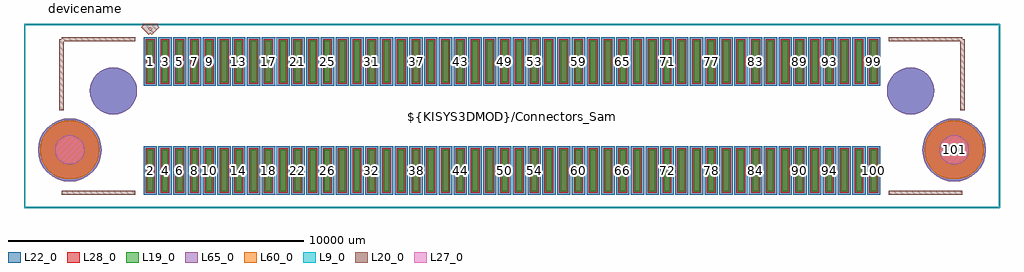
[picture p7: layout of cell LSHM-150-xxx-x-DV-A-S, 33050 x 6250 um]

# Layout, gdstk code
import gdstk
lib = gdstk.Library(unit=1e-6, precision=1e-09)
def R(c, l, rs):  # rectangles x0, y0, x1, y1
    for r in rs: c.add(gdstk.rectangle(r[:2], r[2:], *l))
def A(c, l, x, y, w, h, nx, ny, dx, dy):  # array of equal rectangles
    R(c, l, [(x+i*dx, y+j*dy, x+i*dx+w, y+j*dy+h) for i in range(nx) for j in range(ny)])
def P(c, l, *ps):  # polygons
    for p in ps: c.add(gdstk.Polygon(p, *l))
L9_0 = (9, 0)
L19_0 = (19, 0)
L20_0 = (20, 0)
L22_0 = (22, 0)
L27_0 = (27, 0)
L28_0 = (28, 0)
L60_0 = (60, 0)
L65_0 = (65, 0)

lshm_150_xxx_x_dv_a_s = lib.new_cell('LSHM-150-xxx-x-DV-A-S')
A(lshm_150_xxx_x_dv_a_s, L19_0, -12350, -2550, 200, 1400, 50, 2, 500, 3700)
A(lshm_150_xxx_x_dv_a_s, L22_0, -12475, -2675, 450, 1650, 50, 2, 500, 3700)
P(lshm_150_xxx_x_dv_a_s, L22_0, [(-12700,850),(-12715.372,1006.072),(-12760.896,1156.147),(-12834.824,1294.456),(-12934.315,1415.685),(-13055.544,1515.176),(-13193.853,1589.104),(-13343.928,1634.628),(-13500,1650),(-13656.072,1634.628),(-13806.147,1589.104),(-13944.456,1515.176),(-14065.685,1415.685),(-14165.176,1294.456),(-14239.104,1156.147),(-14284.628,1006.072),(-14300,850),(-14284.628,693.928),(-14239.104,543.853),(-14165.176,405.544),(-14065.685,284.315),(-13944.456,184.824),(-13806.147,110.896),(-13656.072,65.372),(-13500,50),(-13343.928,65.372),(-13193.853,110.896),(-13055.544,184.824),(-12934.315,284.315),(-12834.824,405.544),(-12760.896,543.853),(-12715.372,693.928)],
  [(-13900,-1150),(-13920.656,-940.278),(-13981.83,-738.615),(-14081.17,-552.762),(-14214.86,-389.86),(-14377.762,-256.17),(-14563.615,-156.83),(-14765.278,-95.656),(-14975,-75),(-15184.722,-95.656),(-15386.385,-156.83),(-15572.238,-256.17),(-15735.14,-389.86),(-15868.83,-552.762),(-15968.17,-738.615),(-16029.344,-940.278),(-16050,-1150),(-16029.344,-1359.722),(-15968.17,-1561.385),(-15868.83,-1747.238),(-15735.14,-1910.14),(-15572.238,-2043.83),(-15386.385,-2143.17),(-15184.722,-2204.344),(-14975,-2225),(-14765.278,-2204.344),(-14563.615,-2143.17),(-14377.762,-2043.83),(-14214.86,-1910.14),(-14081.17,-1747.238),(-13981.83,-1561.385),(-13920.656,-1359.722)],
  [(14300,850),(14284.628,1006.072),(14239.104,1156.147),(14165.176,1294.456),(14065.685,1415.685),(13944.456,1515.176),(13806.147,1589.104),(13656.072,1634.628),(13500,1650),(13343.928,1634.628),(13193.853,1589.104),(13055.544,1515.176),(12934.315,1415.685),(12834.824,1294.456),(12760.896,1156.147),(12715.372,1006.072),(12700,850),(12715.372,693.928),(12760.896,543.853),(12834.824,405.544),(12934.315,284.315),(13055.544,184.824),(13193.853,110.896),(13343.928,65.372),(13500,50),(13656.072,65.372),(13806.147,110.896),(13944.456,184.824),(14065.685,284.315),(14165.176,405.544),(14239.104,543.853),(14284.628,693.928)],
  [(16050,-1150),(16029.344,-940.278),(15968.17,-738.615),(15868.83,-552.762),(15735.14,-389.86),(15572.238,-256.17),(15386.385,-156.83),(15184.722,-95.656),(14975,-75),(14765.278,-95.656),(14563.615,-156.83),(14377.762,-256.17),(14214.86,-389.86),(14081.17,-552.762),(13981.83,-738.615),(13920.656,-940.278),(13900,-1150),(13920.656,-1359.722),(13981.83,-1561.385),(14081.17,-1747.238),(14214.86,-1910.14),(14377.762,-2043.83),(14563.615,-2143.17),(14765.278,-2204.344),(14975,-2225),(15184.722,-2204.344),(15386.385,-2143.17),(15572.238,-2043.83),(15735.14,-1910.14),(15868.83,-1747.238),(15968.17,-1561.385),(16029.344,-1359.722)])
P(lshm_150_xxx_x_dv_a_s, L27_0, [(-14475.001,-1150),(-14484.608,-1052.455),(-14513.061,-958.659),(-14559.266,-872.215),(-14621.447,-796.447),(-14697.215,-734.266),(-14783.659,-688.061),(-14877.455,-659.608),(-14975,-650.001),(-15072.545,-659.608),(-15166.341,-688.061),(-15252.785,-734.266),(-15328.553,-796.447),(-15390.734,-872.215),(-15436.939,-958.659),(-15465.392,-1052.455),(-15474.999,-1150),(-15465.392,-1247.545),(-15436.939,-1341.341),(-15390.734,-1427.785),(-15328.553,-1503.553),(-15252.785,-1565.734),(-15166.341,-1611.939),(-15072.545,-1640.392),(-14975,-1649.999),(-14877.455,-1640.392),(-14783.659,-1611.939),(-14697.215,-1565.734),(-14621.447,-1503.553),(-14559.266,-1427.785),(-14513.061,-1341.341),(-14484.608,-1247.545)],
  [(15474.999,-1150),(15465.392,-1052.455),(15436.939,-958.659),(15390.734,-872.215),(15328.553,-796.447),(15252.785,-734.266),(15166.341,-688.061),(15072.545,-659.608),(14975,-650.001),(14877.455,-659.608),(14783.659,-688.061),(14697.215,-734.266),(14621.447,-796.447),(14559.266,-872.215),(14513.061,-958.659),(14484.608,-1052.455),(14475.001,-1150),(14484.608,-1247.545),(14513.061,-1341.341),(14559.266,-1427.785),(14621.447,-1503.553),(14697.215,-1565.734),(14783.659,-1611.939),(14877.455,-1640.392),(14975,-1649.999),(15072.545,-1640.392),(15166.341,-1611.939),(15252.785,-1565.734),(15328.553,-1503.553),(15390.734,-1427.785),(15436.939,-1341.341),(15465.392,-1247.545)])
A(lshm_150_xxx_x_dv_a_s, L28_0, -12400, -2600, 300, 1500, 50, 2, 500, 3700)
P(lshm_150_xxx_x_dv_a_s, L28_0, [(-13975,-1150),(-13994.215,-954.91),(-14051.12,-767.317),(-14143.53,-594.43),(-14267.893,-442.893),(-14419.43,-318.53),(-14592.317,-226.12),(-14779.91,-169.215),(-14975,-150),(-15170.09,-169.215),(-15357.683,-226.12),(-15530.57,-318.53),(-15682.107,-442.893),(-15806.47,-594.43),(-15898.88,-767.317),(-15955.785,-954.91),(-15975,-1150),(-15955.785,-1345.09),(-15898.88,-1532.683),(-15806.47,-1705.57),(-15682.107,-1857.107),(-15530.57,-1981.47),(-15357.683,-2073.88),(-15170.09,-2130.785),(-14975,-2150),(-14779.91,-2130.785),(-14592.317,-2073.88),(-14419.43,-1981.47),(-14267.893,-1857.107),(-14143.53,-1705.57),(-14051.12,-1532.683),(-13994.215,-1345.09)],
  [(15975,-1150),(15955.785,-954.91),(15898.88,-767.317),(15806.47,-594.43),(15682.107,-442.893),(15530.57,-318.53),(15357.683,-226.12),(15170.09,-169.215),(14975,-150),(14779.91,-169.215),(14592.317,-226.12),(14419.43,-318.53),(14267.893,-442.893),(14143.53,-594.43),(14051.12,-767.317),(13994.215,-954.91),(13975,-1150),(13994.215,-1345.09),(14051.12,-1532.683),(14143.53,-1705.57),(14267.893,-1857.107),(14419.43,-1981.47),(14592.317,-2073.88),(14779.91,-2130.785),(14975,-2150),(15170.09,-2130.785),(15357.683,-2073.88),(15530.57,-1981.47),(15682.107,-1857.107),(15806.47,-1705.57),(15898.88,-1532.683),(15955.785,-1345.09)])
P(lshm_150_xxx_x_dv_a_s, L60_0, [(-13975,-1150),(-13994.215,-954.91),(-14051.12,-767.317),(-14143.53,-594.43),(-14267.893,-442.893),(-14419.43,-318.53),(-14592.317,-226.12),(-14779.91,-169.215),(-14975,-150),(-15170.09,-169.215),(-15357.683,-226.12),(-15530.57,-318.53),(-15682.107,-442.893),(-15806.47,-594.43),(-15898.88,-767.317),(-15955.785,-954.91),(-15975,-1150),(-15955.785,-1345.09),(-15898.88,-1532.683),(-15806.47,-1705.57),(-15682.107,-1857.107),(-15530.57,-1981.47),(-15357.683,-2073.88),(-15170.09,-2130.785),(-14975,-2150),(-14779.91,-2130.785),(-14592.317,-2073.88),(-14419.43,-1981.47),(-14267.893,-1857.107),(-14143.53,-1705.57),(-14051.12,-1532.683),(-13994.215,-1345.09)],
  [(15975,-1150),(15955.785,-954.91),(15898.88,-767.317),(15806.47,-594.43),(15682.107,-442.893),(15530.57,-318.53),(15357.683,-226.12),(15170.09,-169.215),(14975,-150),(14779.91,-169.215),(14592.317,-226.12),(14419.43,-318.53),(14267.893,-442.893),(14143.53,-594.43),(14051.12,-767.317),(13994.215,-954.91),(13975,-1150),(13994.215,-1345.09),(14051.12,-1532.683),(14143.53,-1705.57),(14267.893,-1857.107),(14419.43,-1981.47),(14592.317,-2073.88),(14779.91,-2130.785),(14975,-2150),(15170.09,-2130.785),(15357.683,-2073.88),(15530.57,-1981.47),(15682.107,-1857.107),(15806.47,-1705.57),(15898.88,-1532.683),(15955.785,-1345.09)])
P(lshm_150_xxx_x_dv_a_s, L65_0, [(-12700,850),(-12715.372,1006.072),(-12760.896,1156.147),(-12834.824,1294.456),(-12934.315,1415.685),(-13055.544,1515.176),(-13193.853,1589.104),(-13343.928,1634.628),(-13500,1650),(-13656.072,1634.628),(-13806.147,1589.104),(-13944.456,1515.176),(-14065.685,1415.685),(-14165.176,1294.456),(-14239.104,1156.147),(-14284.628,1006.072),(-14300,850),(-14284.628,693.928),(-14239.104,543.853),(-14165.176,405.544),(-14065.685,284.315),(-13944.456,184.824),(-13806.147,110.896),(-13656.072,65.372),(-13500,50),(-13343.928,65.372),(-13193.853,110.896),(-13055.544,184.824),(-12934.315,284.315),(-12834.824,405.544),(-12760.896,543.853),(-12715.372,693.928)],
  [(-13900,-1150),(-13920.656,-940.278),(-13981.83,-738.615),(-14081.17,-552.762),(-14214.86,-389.86),(-14377.762,-256.17),(-14563.615,-156.83),(-14765.278,-95.656),(-14975,-75),(-15184.722,-95.656),(-15386.385,-156.83),(-15572.238,-256.17),(-15735.14,-389.86),(-15868.83,-552.762),(-15968.17,-738.615),(-16029.344,-940.278),(-16050,-1150),(-16029.344,-1359.722),(-15968.17,-1561.385),(-15868.83,-1747.238),(-15735.14,-1910.14),(-15572.238,-2043.83),(-15386.385,-2143.17),(-15184.722,-2204.344),(-14975,-2225),(-14765.278,-2204.344),(-14563.615,-2143.17),(-14377.762,-2043.83),(-14214.86,-1910.14),(-14081.17,-1747.238),(-13981.83,-1561.385),(-13920.656,-1359.722)],
  [(14300,850),(14284.628,1006.072),(14239.104,1156.147),(14165.176,1294.456),(14065.685,1415.685),(13944.456,1515.176),(13806.147,1589.104),(13656.072,1634.628),(13500,1650),(13343.928,1634.628),(13193.853,1589.104),(13055.544,1515.176),(12934.315,1415.685),(12834.824,1294.456),(12760.896,1156.147),(12715.372,1006.072),(12700,850),(12715.372,693.928),(12760.896,543.853),(12834.824,405.544),(12934.315,284.315),(13055.544,184.824),(13193.853,110.896),(13343.928,65.372),(13500,50),(13656.072,65.372),(13806.147,110.896),(13944.456,184.824),(14065.685,284.315),(14165.176,405.544),(14239.104,543.853),(14284.628,693.928)],
  [(16050,-1150),(16029.344,-940.278),(15968.17,-738.615),(15868.83,-552.762),(15735.14,-389.86),(15572.238,-256.17),(15386.385,-156.83),(15184.722,-95.656),(14975,-75),(14765.278,-95.656),(14563.615,-156.83),(14377.762,-256.17),(14214.86,-389.86),(14081.17,-552.762),(13981.83,-738.615),(13920.656,-940.278),(13900,-1150),(13920.656,-1359.722),(13981.83,-1561.385),(14081.17,-1747.238),(14214.86,-1910.14),(14377.762,-2043.83),(14563.615,-2143.17),(14765.278,-2204.344),(14975,-2225),(15184.722,-2204.344),(15386.385,-2143.17),(15572.238,-2043.83),(15735.14,-1910.14),(15868.83,-1747.238),(15968.17,-1561.385),(16029.344,-1359.722)])
lshm_150_xxx_x_dv_a_s.add(gdstk.FlexPath([(15250,-2600),(12750,-2600)], 149.998, ends="flush", simple_path=True, layer=20, datatype=0))  # L20_0
lshm_150_xxx_x_dv_a_s.add(gdstk.FlexPath([(-15250,-2600),(-12750,-2600)], 149.998, ends="flush", simple_path=True, layer=20, datatype=0))  # L20_0
lshm_150_xxx_x_dv_a_s.add(gdstk.FlexPath([(15250,200),(15250,2600)], 149.998, ends="flush", simple_path=True, layer=20, datatype=0))  # L20_0
lshm_150_xxx_x_dv_a_s.add(gdstk.FlexPath([(15250,2600),(12750,2600)], 149.998, ends="flush", simple_path=True, layer=20, datatype=0))  # L20_0
lshm_150_xxx_x_dv_a_s.add(gdstk.FlexPath([(-15250,2600),(-12750,2600)], 149.998, ends="flush", simple_path=True, layer=20, datatype=0))  # L20_0
lshm_150_xxx_x_dv_a_s.add(gdstk.FlexPath([(-15250,200),(-15250,2600)], 149.998, ends="flush", simple_path=True, layer=20, datatype=0))  # L20_0
lshm_150_xxx_x_dv_a_s.add(gdstk.FlexPath([(16500,-3100),(16500,3100)], 50, ends="flush", simple_path=True, layer=9, datatype=0))  # L9_0
lshm_150_xxx_x_dv_a_s.add(gdstk.FlexPath([(-16500,-3100),(-16500,3100)], 50, ends="flush", simple_path=True, layer=9, datatype=0))  # L9_0
lshm_150_xxx_x_dv_a_s.add(gdstk.FlexPath([(-16500,3100),(16500,3100)], 50, ends="flush", simple_path=True, layer=9, datatype=0))  # L9_0
lshm_150_xxx_x_dv_a_s.add(gdstk.FlexPath([(-16500,-3100),(16500,-3100)], 50, ends="flush", simple_path=True, layer=9, datatype=0))  # L9_0
lshm_150_xxx_x_dv_a_s.add(gdstk.FlexPath([(-12250,2800),(-12000,3050)], 149.998, ends="flush", simple_path=True, layer=20, datatype=0))  # L20_0
lshm_150_xxx_x_dv_a_s.add(gdstk.FlexPath([(-12000,3050),(-12500,3050)], 149.998, ends="flush", simple_path=True, layer=20, datatype=0))  # L20_0
lshm_150_xxx_x_dv_a_s.add(gdstk.FlexPath([(-12500,3050),(-12250,2800)], 149.998, ends="flush", simple_path=True, layer=20, datatype=0))  # L20_0
lshm_150_xxx_x_dv_a_s.add(gdstk.Label('${KISYS3DMOD}/Connectors_Samtec.3dshapes/LSHM-150-xxx-x-DV-A-S.wrl', (0,0), layer=12, texttype=0))
lshm_150_xxx_x_dv_a_s.add(gdstk.Label('2', (-12250,-1850), layer=28, texttype=0))
lshm_150_xxx_x_dv_a_s.add(gdstk.Label('1', (-12250,1850), layer=28, texttype=0))
lshm_150_xxx_x_dv_a_s.add(gdstk.Label('3', (-11750,1850), layer=28, texttype=0))
lshm_150_xxx_x_dv_a_s.add(gdstk.Label('4', (-11750,-1850), layer=28, texttype=0))
lshm_150_xxx_x_dv_a_s.add(gdstk.Label('8', (-10750,-1850), layer=28, texttype=0))
lshm_150_xxx_x_dv_a_s.add(gdstk.Label('7', (-10750,1850), layer=28, texttype=0))
lshm_150_xxx_x_dv_a_s.add(gdstk.Label('5', (-11250,1850), layer=28, texttype=0))
lshm_150_xxx_x_dv_a_s.add(gdstk.Label('6', (-11250,-1850), layer=28, texttype=0))
lshm_150_xxx_x_dv_a_s.add(gdstk.Label('14', (-9250,-1850), layer=28, texttype=0))
lshm_150_xxx_x_dv_a_s.add(gdstk.Label('13', (-9250,1850), layer=28, texttype=0))
lshm_150_xxx_x_dv_a_s.add(gdstk.Label('15', (-8750,1850), layer=28, texttype=0))
lshm_150_xxx_x_dv_a_s.add(gdstk.Label('16', (-8750,-1850), layer=28, texttype=0))
lshm_150_xxx_x_dv_a_s.add(gdstk.Label('12', (-9750,-1850), layer=28, texttype=0))
lshm_150_xxx_x_dv_a_s.add(gdstk.Label('11', (-9750,1850), layer=28, texttype=0))
lshm_150_xxx_x_dv_a_s.add(gdstk.Label('9', (-10250,1850), layer=28, texttype=0))
lshm_150_xxx_x_dv_a_s.add(gdstk.Label('10', (-10250,-1850), layer=28, texttype=0))
lshm_150_xxx_x_dv_a_s.add(gdstk.Label('26', (-6250,-1850), layer=28, texttype=0))
lshm_150_xxx_x_dv_a_s.add(gdstk.Label('25', (-6250,1850), layer=28, texttype=0))
lshm_150_xxx_x_dv_a_s.add(gdstk.Label('27', (-5750,1850), layer=28, texttype=0))
lshm_150_xxx_x_dv_a_s.add(gdstk.Label('28', (-5750,-1850), layer=28, texttype=0))
lshm_150_xxx_x_dv_a_s.add(gdstk.Label('32', (-4750,-1850), layer=28, texttype=0))
lshm_150_xxx_x_dv_a_s.add(gdstk.Label('31', (-4750,1850), layer=28, texttype=0))
lshm_150_xxx_x_dv_a_s.add(gdstk.Label('29', (-5250,1850), layer=28, texttype=0))
lshm_150_xxx_x_dv_a_s.add(gdstk.Label('30', (-5250,-1850), layer=28, texttype=0))
lshm_150_xxx_x_dv_a_s.add(gdstk.Label('22', (-7250,-1850), layer=28, texttype=0))
lshm_150_xxx_x_dv_a_s.add(gdstk.Label('21', (-7250,1850), layer=28, texttype=0))
lshm_150_xxx_x_dv_a_s.add(gdstk.Label('23', (-6750,1850), layer=28, texttype=0))
lshm_150_xxx_x_dv_a_s.add(gdstk.Label('24', (-6750,-1850), layer=28, texttype=0))
lshm_150_xxx_x_dv_a_s.add(gdstk.Label('20', (-7750,-1850), layer=28, texttype=0))
lshm_150_xxx_x_dv_a_s.add(gdstk.Label('19', (-7750,1850), layer=28, texttype=0))
lshm_150_xxx_x_dv_a_s.add(gdstk.Label('17', (-8250,1850), layer=28, texttype=0))
lshm_150_xxx_x_dv_a_s.add(gdstk.Label('18', (-8250,-1850), layer=28, texttype=0))
lshm_150_xxx_x_dv_a_s.add(gdstk.Label('38', (-3250,-1850), layer=28, texttype=0))
lshm_150_xxx_x_dv_a_s.add(gdstk.Label('37', (-3250,1850), layer=28, texttype=0))
lshm_150_xxx_x_dv_a_s.add(gdstk.Label('39', (-2750,1850), layer=28, texttype=0))
lshm_150_xxx_x_dv_a_s.add(gdstk.Label('40', (-2750,-1850), layer=28, texttype=0))
lshm_150_xxx_x_dv_a_s.add(gdstk.Label('36', (-3750,-1850), layer=28, texttype=0))
lshm_150_xxx_x_dv_a_s.add(gdstk.Label('35', (-3750,1850), layer=28, texttype=0))
lshm_150_xxx_x_dv_a_s.add(gdstk.Label('33', (-4250,1850), layer=28, texttype=0))
lshm_150_xxx_x_dv_a_s.add(gdstk.Label('34', (-4250,-1850), layer=28, texttype=0))
lshm_150_xxx_x_dv_a_s.add(gdstk.Label('54', (750,-1850), layer=28, texttype=0))
lshm_150_xxx_x_dv_a_s.add(gdstk.Label('53', (750,1850), layer=28, texttype=0))
lshm_150_xxx_x_dv_a_s.add(gdstk.Label('55', (1250,1850), layer=28, texttype=0))
lshm_150_xxx_x_dv_a_s.add(gdstk.Label('56', (1250,-1850), layer=28, texttype=0))
lshm_150_xxx_x_dv_a_s.add(gdstk.Label('60', (2250,-1850), layer=28, texttype=0))
lshm_150_xxx_x_dv_a_s.add(gdstk.Label('59', (2250,1850), layer=28, texttype=0))
lshm_150_xxx_x_dv_a_s.add(gdstk.Label('57', (1750,1850), layer=28, texttype=0))
lshm_150_xxx_x_dv_a_s.add(gdstk.Label('58', (1750,-1850), layer=28, texttype=0))
lshm_150_xxx_x_dv_a_s.add(gdstk.Label('44', (-1750,-1850), layer=28, texttype=0))
lshm_150_xxx_x_dv_a_s.add(gdstk.Label('43', (-1750,1850), layer=28, texttype=0))
lshm_150_xxx_x_dv_a_s.add(gdstk.Label('41', (-2250,1850), layer=28, texttype=0))
lshm_150_xxx_x_dv_a_s.add(gdstk.Label('42', (-2250,-1850), layer=28, texttype=0))
lshm_150_xxx_x_dv_a_s.add(gdstk.Label('50', (-250,-1850), layer=28, texttype=0))
lshm_150_xxx_x_dv_a_s.add(gdstk.Label('49', (-250,1850), layer=28, texttype=0))
lshm_150_xxx_x_dv_a_s.add(gdstk.Label('51', (250,1850), layer=28, texttype=0))
lshm_150_xxx_x_dv_a_s.add(gdstk.Label('52', (250,-1850), layer=28, texttype=0))
lshm_150_xxx_x_dv_a_s.add(gdstk.Label('48', (-750,-1850), layer=28, texttype=0))
lshm_150_xxx_x_dv_a_s.add(gdstk.Label('47', (-750,1850), layer=28, texttype=0))
lshm_150_xxx_x_dv_a_s.add(gdstk.Label('45', (-1250,1850), layer=28, texttype=0))
lshm_150_xxx_x_dv_a_s.add(gdstk.Label('46', (-1250,-1850), layer=28, texttype=0))
lshm_150_xxx_x_dv_a_s.add(gdstk.Label('66', (3750,-1850), layer=28, texttype=0))
lshm_150_xxx_x_dv_a_s.add(gdstk.Label('65', (3750,1850), layer=28, texttype=0))
lshm_150_xxx_x_dv_a_s.add(gdstk.Label('67', (4250,1850), layer=28, texttype=0))
lshm_150_xxx_x_dv_a_s.add(gdstk.Label('68', (4250,-1850), layer=28, texttype=0))
lshm_150_xxx_x_dv_a_s.add(gdstk.Label('72', (5250,-1850), layer=28, texttype=0))
lshm_150_xxx_x_dv_a_s.add(gdstk.Label('71', (5250,1850), layer=28, texttype=0))
lshm_150_xxx_x_dv_a_s.add(gdstk.Label('69', (4750,1850), layer=28, texttype=0))
lshm_150_xxx_x_dv_a_s.add(gdstk.Label('70', (4750,-1850), layer=28, texttype=0))
lshm_150_xxx_x_dv_a_s.add(gdstk.Label('62', (2750,-1850), layer=28, texttype=0))
lshm_150_xxx_x_dv_a_s.add(gdstk.Label('61', (2750,1850), layer=28, texttype=0))
lshm_150_xxx_x_dv_a_s.add(gdstk.Label('63', (3250,1850), layer=28, texttype=0))
lshm_150_xxx_x_dv_a_s.add(gdstk.Label('64', (3250,-1850), layer=28, texttype=0))
lshm_150_xxx_x_dv_a_s.add(gdstk.Label('78', (6750,-1850), layer=28, texttype=0))
lshm_150_xxx_x_dv_a_s.add(gdstk.Label('77', (6750,1850), layer=28, texttype=0))
lshm_150_xxx_x_dv_a_s.add(gdstk.Label('79', (7250,1850), layer=28, texttype=0))
lshm_150_xxx_x_dv_a_s.add(gdstk.Label('80', (7250,-1850), layer=28, texttype=0))
lshm_150_xxx_x_dv_a_s.add(gdstk.Label('76', (6250,-1850), layer=28, texttype=0))
lshm_150_xxx_x_dv_a_s.add(gdstk.Label('75', (6250,1850), layer=28, texttype=0))
lshm_150_xxx_x_dv_a_s.add(gdstk.Label('73', (5750,1850), layer=28, texttype=0))
lshm_150_xxx_x_dv_a_s.add(gdstk.Label('74', (5750,-1850), layer=28, texttype=0))
lshm_150_xxx_x_dv_a_s.add(gdstk.Label('94', (10750,-1850), layer=28, texttype=0))
lshm_150_xxx_x_dv_a_s.add(gdstk.Label('93', (10750,1850), layer=28, texttype=0))
lshm_150_xxx_x_dv_a_s.add(gdstk.Label('95', (11250,1850), layer=28, texttype=0))
lshm_150_xxx_x_dv_a_s.add(gdstk.Label('96', (11250,-1850), layer=28, texttype=0))
lshm_150_xxx_x_dv_a_s.add(gdstk.Label('100', (12250,-1850), layer=28, texttype=0))
lshm_150_xxx_x_dv_a_s.add(gdstk.Label('99', (12250,1850), layer=28, texttype=0))
lshm_150_xxx_x_dv_a_s.add(gdstk.Label('97', (11750,1850), layer=28, texttype=0))
lshm_150_xxx_x_dv_a_s.add(gdstk.Label('98', (11750,-1850), layer=28, texttype=0))
lshm_150_xxx_x_dv_a_s.add(gdstk.Label('84', (8250,-1850), layer=28, texttype=0))
lshm_150_xxx_x_dv_a_s.add(gdstk.Label('83', (8250,1850), layer=28, texttype=0))
lshm_150_xxx_x_dv_a_s.add(gdstk.Label('81', (7750,1850), layer=28, texttype=0))
lshm_150_xxx_x_dv_a_s.add(gdstk.Label('82', (7750,-1850), layer=28, texttype=0))
lshm_150_xxx_x_dv_a_s.add(gdstk.Label('90', (9750,-1850), layer=28, texttype=0))
lshm_150_xxx_x_dv_a_s.add(gdstk.Label('89', (9750,1850), layer=28, texttype=0))
lshm_150_xxx_x_dv_a_s.add(gdstk.Label('91', (10250,1850), layer=28, texttype=0))
lshm_150_xxx_x_dv_a_s.add(gdstk.Label('92', (10250,-1850), layer=28, texttype=0))
lshm_150_xxx_x_dv_a_s.add(gdstk.Label('88', (9250,-1850), layer=28, texttype=0))
lshm_150_xxx_x_dv_a_s.add(gdstk.Label('87', (9250,1850), layer=28, texttype=0))
lshm_150_xxx_x_dv_a_s.add(gdstk.Label('85', (8750,1850), layer=28, texttype=0))
lshm_150_xxx_x_dv_a_s.add(gdstk.Label('86', (8750,-1850), layer=28, texttype=0))
lshm_150_xxx_x_dv_a_s.add(gdstk.Label('101', (14975,-1150), layer=28, texttype=0))
lshm_150_xxx_x_dv_a_s.add(gdstk.Label('type', (0,-4250), layer=9, texttype=0))
lshm_150_xxx_x_dv_a_s.add(gdstk.Label('devicename', (-14450,3650), layer=9, texttype=0))

lib.write_gds('LSHM-150-xxx-x-DV-A-S.gds')
